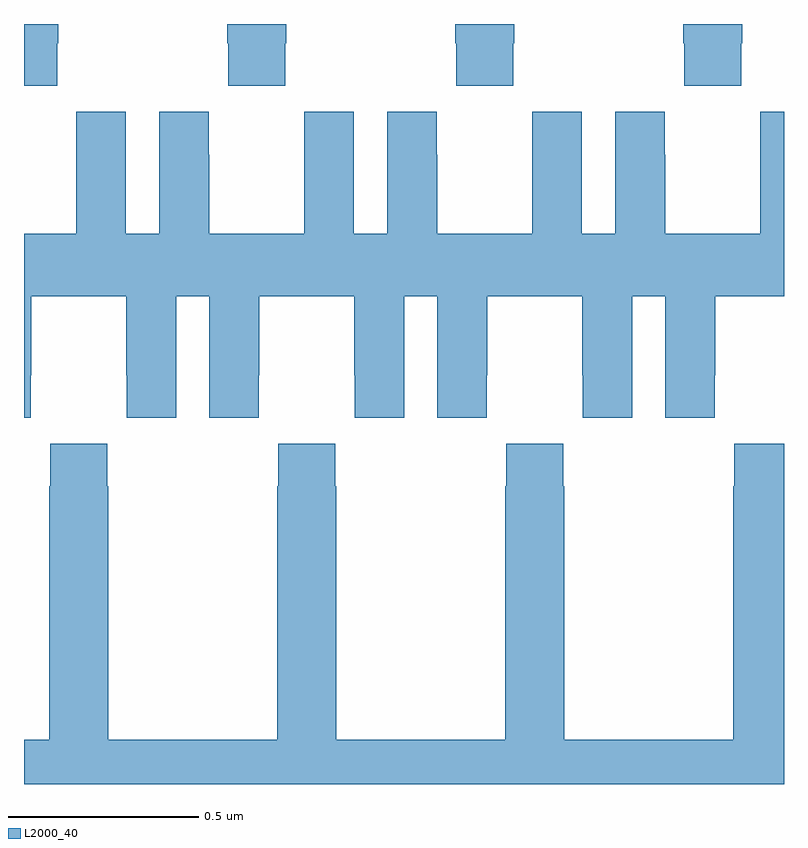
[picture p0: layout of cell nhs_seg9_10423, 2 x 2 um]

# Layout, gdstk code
import gdstk
lib = gdstk.Library(unit=1e-6, precision=1e-09)
def P(c, l, *ps):  # polygons
    for p in ps: c.add(gdstk.Polygon(p, *l))
L2000_40 = (2000, 40)

nhs_seg9_10423 = lib.new_cell('nhs_seg9_10423')
P(nhs_seg9_10423, L2000_40, [(244.887,1166.449),(244.89,1166.449),(244.89,1166.5),(244.735,1166.5),(244.735,1166.449),(244.737,1166.449),(244.737,1166.337),(244.887,1166.337)],
  [(244.287,1166.449),(244.29,1166.449),(244.29,1166.5),(244.135,1166.5),(244.135,1166.449),(244.137,1166.449),(244.137,1166.337),(244.287,1166.337)],
  [(243.687,1166.449),(243.69,1166.449),(243.69,1166.5),(243.535,1166.5),(243.535,1166.449),(243.537,1166.449),(243.537,1166.337),(243.687,1166.337)],
  [(243.087,1166.449),(243.09,1166.449),(243.09,1166.5),(243,1166.5),(243,1166.337),(243.087,1166.337)],
  [(243.018,1165.576),(243.019,1165.576),(243.019,1165.784),(243.269,1165.784),(243.269,1165.576),(243.27,1165.576),(243.27,1165.464),(243.4,1165.464),(243.4,1165.784),(243.488,1165.784),(243.488,1165.464),(243.618,1165.464),(243.618,1165.576),(243.619,1165.576),(243.619,1165.784),(243.869,1165.784),(243.869,1165.576),(243.87,1165.576),(243.87,1165.464),(244,1165.464),(244,1165.784),(244.088,1165.784),(244.088,1165.464),(244.218,1165.464),(244.218,1165.576),(244.219,1165.576),(244.219,1165.784),(244.469,1165.784),(244.469,1165.576),(244.47,1165.576),(244.47,1165.464),(244.6,1165.464),(244.6,1165.784),(244.688,1165.784),(244.688,1165.464),(244.818,1165.464),(244.818,1165.576),(244.819,1165.576),(244.819,1165.784),(245,1165.784),(245,1166.269),(244.938,1166.269),(244.938,1166.156),(244.937,1166.156),(244.937,1165.948),(244.687,1165.948),(244.687,1166.156),(244.686,1166.156),(244.686,1166.269),(244.556,1166.269),(244.556,1165.948),(244.468,1165.948),(244.468,1166.269),(244.338,1166.269),(244.338,1166.156),(244.337,1166.156),(244.337,1165.948),(244.087,1165.948),(244.087,1166.156),(244.086,1166.156),(244.086,1166.269),(243.956,1166.269),(243.956,1165.948),(243.868,1165.948),(243.868,1166.269),(243.738,1166.269),(243.738,1166.156),(243.737,1166.156),(243.737,1165.948),(243.487,1165.948),(243.487,1166.156),(243.486,1166.156),(243.486,1166.269),(243.356,1166.269),(243.356,1165.948),(243.268,1165.948),(243.268,1166.269),(243.138,1166.269),(243.138,1166.156),(243.137,1166.156),(243.137,1165.948),(243,1165.948),(243,1165.464),(243.018,1165.464)],
  [(245,1165.396),(244.869,1165.396),(244.869,1165.283),(244.867,1165.283),(244.867,1164.616),(244.422,1164.616),(244.422,1165.283),(244.419,1165.283),(244.419,1165.396),(244.269,1165.396),(244.269,1165.283),(244.267,1165.283),(244.267,1164.616),(243.822,1164.616),(243.822,1165.283),(243.819,1165.283),(243.819,1165.396),(243.669,1165.396),(243.669,1165.283),(243.667,1165.283),(243.667,1164.616),(243.222,1164.616),(243.222,1165.283),(243.219,1165.283),(243.219,1165.396),(243.069,1165.396),(243.069,1165.283),(243.067,1165.283),(243.067,1164.616),(243,1164.616),(243,1164.5),(245,1164.5)])

lib.write_gds('nhs_seg9_10423.gds')
